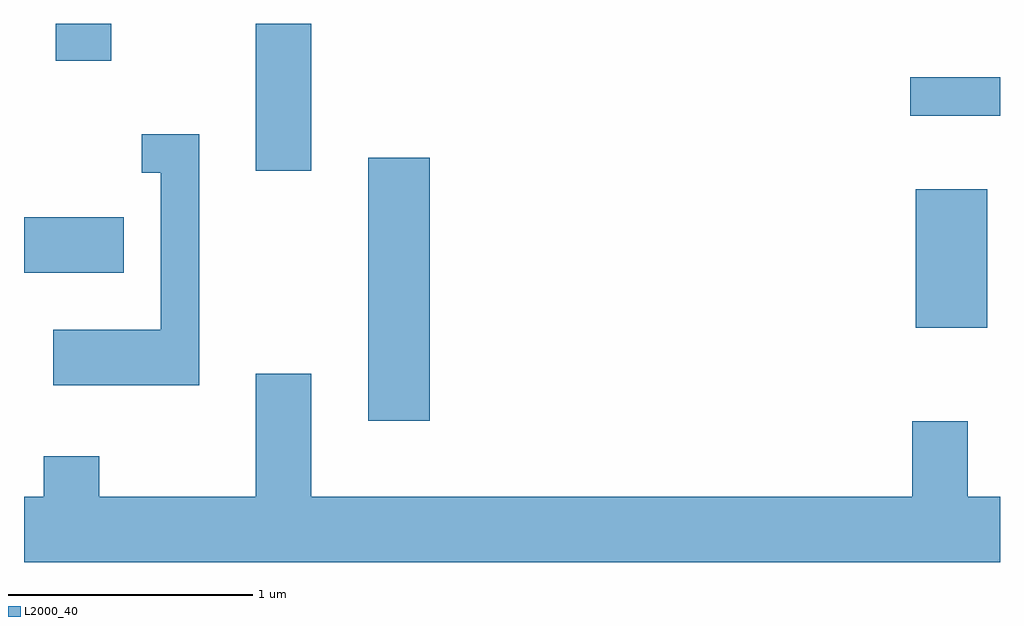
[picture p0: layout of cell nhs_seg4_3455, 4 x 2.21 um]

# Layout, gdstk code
import gdstk
lib = gdstk.Library(unit=1e-6, precision=1e-09)
def R(c, l, rs):  # rectangles x0, y0, x1, y1
    for r in rs: c.add(gdstk.rectangle(r[:2], r[2:], *l))
def P(c, l, *ps):  # polygons
    for p in ps: c.add(gdstk.Polygon(p, *l))
L2000_40 = (2000, 40)

nhs_seg4_3455 = lib.new_cell('nhs_seg4_3455')
R(nhs_seg4_3455, L2000_40, [(287.021,1366.356,287.274,1367.434), (289.266,1366.736,289.559,1367.304), (285.611,1366.961,286.019,1367.189), (286.561,1367.381,286.789,1367.982), (289.243,1367.606,289.611,1367.764), (285.741,1367.831,285.969,1367.982)])
P(nhs_seg4_3455, L2000_40, [(286.329,1367.529),(286.093,1367.529),(286.093,1367.371),(286.171,1367.371),(286.171,1366.729),(285.731,1366.729),(285.731,1366.501),(286.329,1366.501)],
  [(289.611,1366.044),(289.479,1366.044),(289.479,1366.354),(289.251,1366.354),(289.251,1366.044),(286.789,1366.044),(286.789,1366.549),(286.561,1366.549),(286.561,1366.044),(285.919,1366.044),(285.919,1366.209),(285.691,1366.209),(285.691,1366.044),(285.611,1366.044),(285.611,1365.776),(289.611,1365.776)])

lib.write_gds('nhs_seg4_3455.gds')
